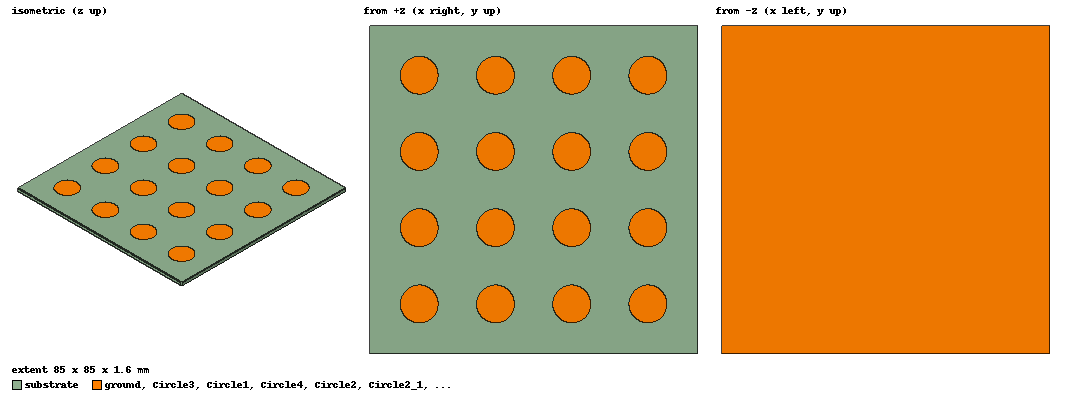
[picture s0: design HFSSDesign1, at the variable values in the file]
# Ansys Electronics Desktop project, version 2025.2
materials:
  vacuum: permittivity=1
  FR4_epoxy: permittivity=4.4 dielectric_loss_tangent=0.02

design HFSSDesign1 (HFSS, HFSS Terminal Network, model units mm)
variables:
  u = 0mm
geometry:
  substrate [FR4_epoxy] = box(corner=((-85/2) mm, (-85/2) mm, 0mm), size=(85mm, 85mm, 1.6mm))
  ground = rectangle(corner=(-42.5mm, 42.5mm, 0mm), x_size=85mm, y_size=-85mm)
  Circle3 = circle(normal=Z, centre=(-29.625mm, 9.875mm, 1.6mm), radius=4.9mm)
  Circle1 = circle(normal=Z, centre=(-29.625mm, 29.625mm, 1.6mm), radius=4.9mm)
  Circle4 = circle(normal=Z, centre=(-9.875mm, 9.875mm, 1.6mm), radius=4.9mm)
  Circle2 = circle(normal=Z, centre=(-9.875mm, 29.625mm, 1.6mm), radius=4.9mm)
  Circle2_1 = Circle2.duplicate_mirror(point=(0mm, 0mm, 1.6mm), normal=(0mm, -1mm, 0mm))
  Circle1_1 = Circle1.duplicate_mirror(point=(0mm, 0mm, 1.6mm), normal=(0mm, -1mm, 0mm))
  Circle3_1 = Circle3.duplicate_mirror(point=(0mm, 0mm, 1.6mm), normal=(0mm, -1mm, 0mm))
  Circle4_1 = Circle4.duplicate_mirror(point=(0mm, 0mm, 1.6mm), normal=(0mm, -1mm, 0mm))
  Circle2_2 = Circle2.duplicate_mirror(point=(0mm, 0mm, 1.6mm), normal=(1mm, 0mm, 0mm))
  Circle1_2 = Circle1.duplicate_mirror(point=(0mm, 0mm, 1.6mm), normal=(1mm, 0mm, 0mm))
  Circle3_2 = Circle3.duplicate_mirror(point=(0mm, 0mm, 1.6mm), normal=(1mm, 0mm, 0mm))
  Circle4_1_1 = Circle4_1.duplicate_mirror(point=(0mm, 0mm, 1.6mm), normal=(1mm, 0mm, 0mm))
  Circle3_1_1 = Circle3_1.duplicate_mirror(point=(0mm, 0mm, 1.6mm), normal=(1mm, 0mm, 0mm))
  Circle1_1_1 = Circle1_1.duplicate_mirror(point=(0mm, 0mm, 1.6mm), normal=(1mm, 0mm, 0mm))
  Circle2_1_1 = Circle2_1.duplicate_mirror(point=(0mm, 0mm, 1.6mm), normal=(1mm, 0mm, 0mm))
  Circle4_2 = Circle4.duplicate_mirror(point=(0mm, 0mm, 1.6mm), normal=(1mm, 0mm, 0mm))
